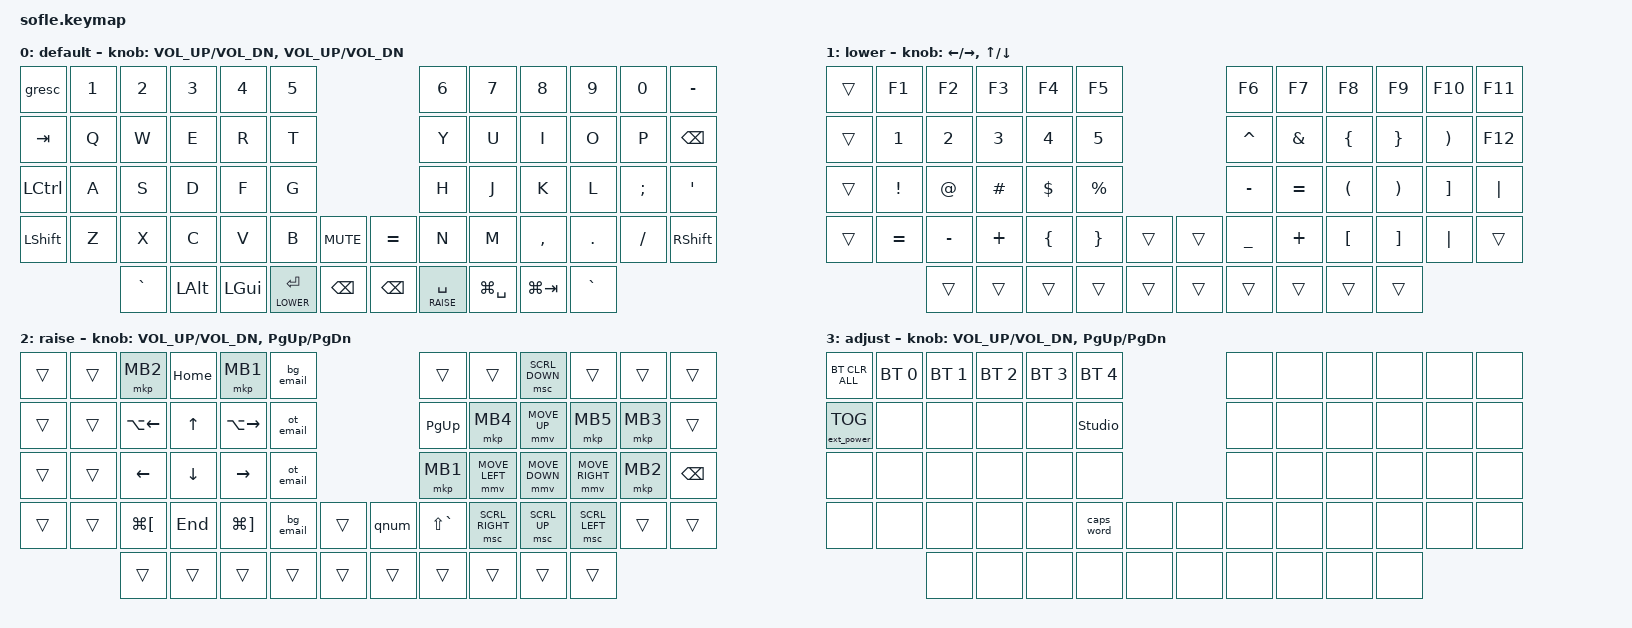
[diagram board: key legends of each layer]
/*
 * Copyright (c) 2020 The ZMK Contributors
 *
 * SPDX-License-Identifier: MIT
 */

#include <behaviors.dtsi>
#include <dt-bindings/zmk/bt.h>
#include <dt-bindings/zmk/ext_power.h>
#include <dt-bindings/zmk/keys.h>
#include <dt-bindings/zmk/pointing.h>

// Encoders

&sensors { triggers-per-rotation = <30>; };

&left_encoder { steps = <60>; };

&right_encoder { steps = <60>; };

#define BASE 0
#define LOWER 1
#define RAISE 2
#define ADJUST 3
#define EXTRA 4

/ {
    // Activate ADJUST layer by pressing raise and lower

    conditional_layers {
        compatible = "zmk,conditional-layers";

        adjust_layer {
            if-layers = <LOWER RAISE>;
            then-layer = <ADJUST>;
        };
    };

    combos {
        compatible = "zmk,combos";

        backspace {
            bindings = <&kp BACKSPACE>;
            key-positions = <32 31>;
        };

        delete {
            bindings = <&kp DELETE>;
            key-positions = <27 33>;
        };

        esc {
            bindings = <&kp ESCAPE>;
            key-positions = <25 41>;
        };
    };

    macros {
        qnum: qnum {
            compatible = "zmk,behavior-macro";
            #binding-cells = <0>;
            bindings = <&kp Q &kp T &kp D &kp N8 &kp N4 &kp N5 &kp N6>;
            label = "QNUM";
        };

        bg_email: bg_email {
            compatible = "zmk,behavior-macro";
            #binding-cells = <0>;
            bindings = <&kp A &kp N &kp D &kp R &kp E &kp W &kp DOT &kp T &kp H &kp O &kp M &kp P &kp S &kp O &kp N &kp AT &kp B &kp M &kp W &kp G &kp R &kp O &kp U &kp P &kp DOT &kp C &kp O &kp M>;
            label = "BG_EMAIL";
        };

        ot_email: ot_email {
            compatible = "zmk,behavior-macro";
            #binding-cells = <0>;
            bindings = <&kp A &kp N &kp D &kp R &kp E &kp W &kp DOT &kp M &kp DOT &kp T &kp H &kp O &kp M &kp P &kp S &kp O &kp N &kp AT &kp O &kp U &kp T &kp L &kp O &kp O &kp K &kp DOT &kp C &kp O &kp M>;
            label = "OT_EMAIL";
        };
    };

    keymap {
        compatible = "zmk,keymap";

        // swap C_MUTE & EQUAL for encoder on the right

        default_layer {
            display-name = "default";

            // ------------------------------------------------------------------------------------------------------------
            // |   `   |  1  |  2  |  3   |  4   |  5   |                   |  6   |  7    |  8    |  9   |   0   |       |
            // |  ESC  |  Q  |  W  |  E   |  R   |  T   |                   |  Y   |  U    |  I    |  O   |   P   | BKSPC |
            // |  TAB  |  A  |  S  |  D   |  F   |  G   |                   |  H   |  J    |  K    |  L   |   ;   |   '   |
            // | SHIFT |  Z  |  X  |  C   |  V   |  B   |  MUTE  |  |       |  N   |  M    |  ,    |  .   |   /   | SHIFT |
            //               | GUI | ALT  | CTRL | LOWER|  ENTER |  | SPACE | RAISE| CTRL  | ALT   | GUI  |

            bindings = <
&gresc          &kp N1  &kp N2     &kp N3    &kp N4        &kp N5                                         &kp N6           &kp N7         &kp N8       &kp N9     &kp N0    &kp MINUS
&kp TAB         &kp Q   &kp W      &kp E     &kp R         &kp T                                          &kp Y            &kp U          &kp I        &kp O      &kp P     &kp BSPC
&kp LCTRL       &kp A   &kp S      &kp D     &kp F         &kp G                                          &kp H            &kp J          &kp K        &kp L      &kp SEMI  &kp SQT
&kp LEFT_SHIFT  &kp Z   &kp X      &kp C     &kp V         &kp B          &kp C_MUTE       &kp EQUAL      &kp N            &kp M          &kp COMMA    &kp DOT    &kp FSLH  &kp RSHFT
                        &kp GRAVE  &kp LALT  &kp LEFT_GUI  &lt LOWER RET  &kp BACKSPACE    &kp BACKSPACE  &lt RAISE SPACE  &kp LG(SPACE)  &kp LG(TAB)  &kp GRAVE
            >;

            sensor-bindings = <&inc_dec_kp C_VOL_UP C_VOL_DN &inc_dec_kp C_VOL_UP C_VOL_DN>;
        };

        lower_layer {
            display-name = "lower";

            // TODO: Some binds are waiting for shifted keycode support.
            // ------------------------------------------------------------------------------------------------------------
            // |       |  F1 |  F2 |  F3  |  F4  |  F5  |                   |  F6  |  F7   |  F8   |  F9  |  F10  |  F11  |
            // |   `   |  1  |  2  |  3   |  4   |  5   |                   |  6   |  7    |  8    |  9   |   0   |  F12  |
            // |       |  !  |  @  |  #   |  $   |  %   |                   |  ^   |  &    |  *    |  (   |   )   |   |   |
            // |       |  =  |  -  |  +   |  {   |  }   |        |  |       |  [   |  ]    |  ;    |  :   |   \   |       |
            //               |     |      |      |      |        |  |       |      |       |       |      |

            bindings = <
&trans  &kp F1     &kp F2     &kp F3    &kp F4    &kp F5                       &kp F6          &kp F7         &kp F8                &kp F9                 &kp F10                &kp F11
&trans  &kp N1     &kp N2     &kp N3    &kp N4    &kp N5                       &kp CARET       &kp AMPERSAND  &kp LEFT_BRACE        &kp RIGHT_BRACE        &kp RIGHT_PARENTHESIS  &kp F12
&trans  &kp EXCL   &kp AT     &kp HASH  &kp DLLR  &kp PRCNT                    &kp MINUS       &kp EQUAL      &kp LEFT_PARENTHESIS  &kp RIGHT_PARENTHESIS  &kp RIGHT_BRACKET      &kp PIPE
&trans  &kp EQUAL  &kp MINUS  &kp PLUS  &kp LBRC  &kp RBRC   &trans    &trans  &kp UNDERSCORE  &kp PLUS       &kp LEFT_BRACKET      &kp RIGHT_BRACKET      &kp PIPE               &trans
                   &trans     &trans    &trans    &trans     &trans    &trans  &trans          &trans         &trans                &trans
            >;

            sensor-bindings =
                <&inc_dec_kp LEFT_ARROW RIGHT_ARROW>,
                <&inc_dec_kp UP_ARROW DOWN_ARROW>;
        };

        raise_layer {
            display-name = "raise";

            // ------------------------------------------------------------------------------------------------------------
            // | BTCLR | BT1  | BT2  |  BT3  |  BT4  |  BT5 |                |      |      |       |      |       |       |
            // |       | INS  | PSCR | GUI   |       |      |                | PGUP |      |   ^   |      |       |       |
            // |       | ALT  | CTRL | SHIFT |       | CAPS |                | PGDN |   <- |   v   |  ->  |  DEL  | BKSPC |
            // |       | UNDO | CUT  | COPY  | PASTE |      |      |  |      |      |      |       |      |       |       |
            //                |      |       |       |      |      |  |      |      |      |       |      |

            bindings = <
&trans  &trans  &mkp MB2              &kp HOME        &mkp MB1               &bg_email                    &trans         &trans           &msc SCRL_DOWN  &trans           &trans    &trans
&trans  &trans  &kp LA(LEFT)          &kp UP_ARROW    &kp LA(RIGHT)          &ot_email                    &kp PG_UP      &mkp MB4         &mmv MOVE_UP    &mkp MB5         &mkp MB3  &trans
&trans  &trans  &kp LEFT_ARROW        &kp DOWN_ARROW  &kp RIGHT_ARROW        &ot_email                    &mkp MB1       &mmv MOVE_LEFT   &mmv MOVE_DOWN  &mmv MOVE_RIGHT  &mkp MB2  &kp BSPC
&trans  &trans  &kp LG(LEFT_BRACKET)  &kp END         &kp LG(RIGHT_BRACKET)  &bg_email  &trans    &qnum   &kp LS(GRAVE)  &msc SCRL_RIGHT  &msc SCRL_UP    &msc SCRL_LEFT   &trans    &trans
                &trans                &trans          &trans                 &trans     &trans    &trans  &trans         &trans           &trans          &trans
            >;

            sensor-bindings = <&inc_dec_kp C_VOL_UP C_VOL_DN &inc_dec_kp PG_UP PG_DN>;
        };

        adjust_layer {
            // ----------------------------------------------------------------------------------------------------------------------------
            // | BTCLR  |  BT1    |  BT2    |   BT3   |   BT4   |   BT5   |                  |      |      |       |      |       |       |
            // | EXTPWR | RGB_HUD | RGB_HUI | RGB_SAD | RGB_SAI | RGB_EFF |                  |      |      |       |      |       |       |
            // |        | RGB_BRD | RGB_BRI |         |         |         |                  |      |      |       |      |       |       |
            // |        |         |         |         |         |         | RGB_TOG | |      |      |      |       |      |       |       |
            //                    |         |         |         |         |         | |      |      |      |       |      |

            display-name = "adjust";
            bindings = <
&bt BT_CLR_ALL     &bt BT_SEL 0  &bt BT_SEL 1  &bt BT_SEL 2  &bt BT_SEL 3  &bt BT_SEL 4                    &none  &none  &none  &none  &none  &none
&ext_power EP_TOG  &none         &none         &none         &none         &studio_unlock                  &none  &none  &none  &none  &none  &none
&none              &none         &none         &none         &none         &none                           &none  &none  &none  &none  &none  &none
&none              &none         &none         &none         &none         &caps_word      &none    &none  &none  &none  &none  &none  &none  &none
                                 &none         &none         &none         &none           &none    &none  &none  &none  &none  &none
            >;

            sensor-bindings = <&inc_dec_kp C_VOL_UP C_VOL_DN &inc_dec_kp PG_UP PG_DN>;
        };
    };
};
